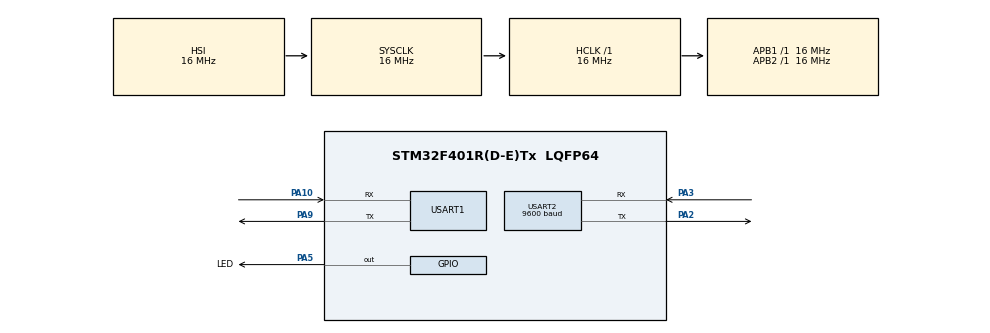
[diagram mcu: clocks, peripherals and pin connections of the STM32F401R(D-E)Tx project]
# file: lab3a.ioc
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Mcu.Family=STM32F4
Mcu.Name=STM32F401R(D-E)Tx
Mcu.Package=LQFP64
NVIC.PriorityGroup=NVIC_PRIORITYGROUP_4
NVIC.RTC_WKUP_IRQn=true\:0\:0\:false\:false\:true\:true\:true\:true
PA10.Mode=Asynchronous
PA10.Signal=USART1_RX
PA2.Mode=Asynchronous
PA2.Signal=USART2_TX
PA3.Mode=Asynchronous
PA3.Signal=USART2_RX
PA5.GPIO_Label=LED
PA5.Signal=GPIO_Output
PA9.Mode=Asynchronous
PA9.Signal=USART1_TX
ProjectManager.HeapSize=0x200
ProjectManager.StackSize=0x400
ProjectManager.TargetToolchain=STM32CubeIDE
RCC.AHBFreq_Value=16000000
RCC.APB1Freq_Value=16000000
RCC.APB2Freq_Value=16000000
RCC.CortexFreq_Value=16000000
RCC.HSE_VALUE=25000000
RCC.HSI_VALUE=16000000
RCC.LSE_VALUE=32768
RCC.SYSCLKFreq_VALUE=16000000
RCC.VCOOutputFreq_Value=192000000
RTC.WakeUpClock=RTC_WAKEUPCLOCK_CK_SPRE_16BITS
RTC.WakeUpCounter=9
USART1.VirtualMode=VM_ASYNC
USART2.BaudRate=9600
USART2.VirtualMode=VM_ASYNC
VP_RTC_VS_RTC_Activate.Mode=RTC_Enabled
VP_RTC_VS_RTC_WakeUp_intern.Mode=WakeUp
board=custom

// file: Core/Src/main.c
/* USER CODE BEGIN Header */
/**
  ******************************************************************************
  * @file           : main.c
  * @brief          : Main program body
  ******************************************************************************
  * @attention
  *
  * Copyright (c) 2026 STMicroelectronics.
  * All rights reserved.
  *
  * This software is licensed under terms that can be found in the LICENSE file
  * in the root directory of this software component.
  * If no LICENSE file comes with this software, it is provided AS-IS.
  *
  ******************************************************************************
  */
/* USER CODE END Header */
#include "main.h"

/* USER CODE BEGIN Includes */
#include <string.h>
#include <stdio.h>
/* USER CODE END Includes */

RTC_HandleTypeDef hrtc;

UART_HandleTypeDef huart1;
UART_HandleTypeDef huart2;

/* USER CODE BEGIN PV */
volatile uint8_t g_rtcWakeFlag = 0;
volatile uint32_t g_secondsCounter = 0;
/* USER CODE END PV */

void SystemClock_Config(void);
static void MX_GPIO_Init(void);
static void MX_RTC_Init(void);
static void MX_USART1_UART_Init(void);
static void MX_USART2_UART_Init(void);
/* USER CODE BEGIN PFP */
static void EnterStopMode(void);
static void BlinkTimes(uint32_t n);
static void LogToPc(const char *text);
static HAL_StatusTypeDef Arduino_RequestCount(char *outBuf, uint16_t outSize);
/* USER CODE END PFP */

/* USER CODE BEGIN 0 */

static void EnterStopMode(void)
{
  __HAL_PWR_CLEAR_FLAG(PWR_FLAG_WU);

  HAL_SuspendTick();
  HAL_PWR_EnterSTOPMode(PWR_LOWPOWERREGULATOR_ON, PWR_STOPENTRY_WFI);
  HAL_ResumeTick();
}

static void BlinkTimes(uint32_t n)
{
  for (uint32_t i = 0; i < n; i++)
  {
    HAL_GPIO_WritePin(GPIOA, GPIO_PIN_5, GPIO_PIN_SET);
    HAL_Delay(120);
    HAL_GPIO_WritePin(GPIOA, GPIO_PIN_5, GPIO_PIN_RESET);
    HAL_Delay(120);
  }
  HAL_Delay(200);
}

static void LogToPc(const char *text)
{
  HAL_UART_Transmit(&huart2, (uint8_t *)text, (uint16_t)strlen(text), HAL_MAX_DELAY);
}

static HAL_StatusTypeDef Arduino_RequestCount(char *outBuf, uint16_t outSize)
{
  const char cmd[] = "GET\n";
  uint8_t ch;
  uint16_t idx = 0;
  uint32_t startTick;

  if (outBuf == NULL || outSize < 2)
    return HAL_ERROR;

  memset(outBuf, 0, outSize);

  if (HAL_UART_Transmit(&huart1, (uint8_t *)cmd, sizeof(cmd) - 1, 1000) != HAL_OK)
    return HAL_ERROR;

  startTick = HAL_GetTick();

  while ((HAL_GetTick() - startTick) < 1000)
  {
    if (HAL_UART_Receive(&huart1, &ch, 1, 50) == HAL_OK)
    {
      if (ch == '\r' || ch == '\n')
      {
        if (idx > 0)
        {
          break;
        }
      }
      else
      {
        if (idx < (outSize - 1))
        {
          outBuf[idx++] = (char)ch;
        }
      }
    }
  }

  outBuf[idx] = '\0';

  if (idx == 0)
    return HAL_TIMEOUT;

  return HAL_OK;
}

void HAL_RTCEx_WakeUpTimerEventCallback(RTC_HandleTypeDef *hrtc)
{
  (void)hrtc;
  g_rtcWakeFlag = 1;
}

/* USER CODE END 0 */

int main(void)
{

  /* MCU Configuration--------------------------------------------------------*/

  HAL_Init();

  SystemClock_Config();

  MX_GPIO_Init();
  MX_RTC_Init();
  MX_USART1_UART_Init();
  MX_USART2_UART_Init();

  /* USER CODE BEGIN 2 */
  HAL_RTCEx_DeactivateWakeUpTimer(&hrtc);

  if (HAL_RTCEx_SetWakeUpTimer_IT(&hrtc, 9, RTC_WAKEUPCLOCK_CK_SPRE_16BITS) != HAL_OK)
  {
    Error_Handler();
  }

  BlinkTimes(2);
  LogToPc("timestamp_s,count\r\n");
  /* USER CODE END 2 */

  /* Infinite loop */
  /* USER CODE BEGIN WHILE */
  while (1)
  {
    g_rtcWakeFlag = 0;

    EnterStopMode();

    /* After STOP mode, restore system clock */
    SystemClock_Config();

    if (g_rtcWakeFlag)
    {
      char rxBuf[32] = {0};
      char logBuf[64] = {0};

      g_secondsCounter += 10;

      if (Arduino_RequestCount(rxBuf, sizeof(rxBuf)) == HAL_OK)
      {
        snprintf(logBuf, sizeof(logBuf), "%lu,%s\r\n",
                 (unsigned long)g_secondsCounter, rxBuf);
      }
      else
      {
        snprintf(logBuf, sizeof(logBuf), "%lu,ERR\r\n",
                 (unsigned long)g_secondsCounter);
      }

      LogToPc(logBuf);
      BlinkTimes(1);
    }

    /* USER CODE END WHILE */

  }
}

void SystemClock_Config(void)
{
  RCC_OscInitTypeDef RCC_OscInitStruct = {0};
  RCC_ClkInitTypeDef RCC_ClkInitStruct = {0};

  __HAL_RCC_PWR_CLK_ENABLE();
  __HAL_PWR_VOLTAGESCALING_CONFIG(PWR_REGULATOR_VOLTAGE_SCALE2);

  RCC_OscInitStruct.OscillatorType = RCC_OSCILLATORTYPE_HSI|RCC_OSCILLATORTYPE_LSI;
  RCC_OscInitStruct.HSIState = RCC_HSI_ON;
  RCC_OscInitStruct.HSICalibrationValue = RCC_HSICALIBRATION_DEFAULT;
  RCC_OscInitStruct.LSIState = RCC_LSI_ON;
  RCC_OscInitStruct.PLL.PLLState = RCC_PLL_NONE;
  if (HAL_RCC_OscConfig(&RCC_OscInitStruct) != HAL_OK)
  {
    Error_Handler();
  }

  RCC_ClkInitStruct.ClockType = RCC_CLOCKTYPE_HCLK|RCC_CLOCKTYPE_SYSCLK
                              |RCC_CLOCKTYPE_PCLK1|RCC_CLOCKTYPE_PCLK2;
  RCC_ClkInitStruct.SYSCLKSource = RCC_SYSCLKSOURCE_HSI;
  RCC_ClkInitStruct.AHBCLKDivider = RCC_SYSCLK_DIV1;
  RCC_ClkInitStruct.APB1CLKDivider = RCC_HCLK_DIV1;
  RCC_ClkInitStruct.APB2CLKDivider = RCC_HCLK_DIV1;

  if (HAL_RCC_ClockConfig(&RCC_ClkInitStruct, FLASH_LATENCY_0) != HAL_OK)
  {
    Error_Handler();
  }
}

static void MX_RTC_Init(void)
{
  RTC_TimeTypeDef sTime = {0};
  RTC_DateTypeDef sDate = {0};

  hrtc.Instance = RTC;
  hrtc.Init.HourFormat = RTC_HOURFORMAT_24;
  hrtc.Init.AsynchPrediv = 127;
  hrtc.Init.SynchPrediv = 255;
  hrtc.Init.OutPut = RTC_OUTPUT_DISABLE;
  hrtc.Init.OutPutPolarity = RTC_OUTPUT_POLARITY_HIGH;
  hrtc.Init.OutPutType = RTC_OUTPUT_TYPE_OPENDRAIN;
  if (HAL_RTC_Init(&hrtc) != HAL_OK)
  {
    Error_Handler();
  }

  sTime.Hours = 0x0;
  sTime.Minutes = 0x0;
  sTime.Seconds = 0x0;
  sTime.DayLightSaving = RTC_DAYLIGHTSAVING_NONE;
  sTime.StoreOperation = RTC_STOREOPERATION_RESET;
  if (HAL_RTC_SetTime(&hrtc, &sTime, RTC_FORMAT_BCD) != HAL_OK)
  {
    Error_Handler();
  }

  sDate.WeekDay = RTC_WEEKDAY_MONDAY;
  sDate.Month = RTC_MONTH_JANUARY;
  sDate.Date = 0x1;
  sDate.Year = 0x0;

  if (HAL_RTC_SetDate(&hrtc, &sDate, RTC_FORMAT_BCD) != HAL_OK)
  {
    Error_Handler();
  }

  if (HAL_RTCEx_SetWakeUpTimer_IT(&hrtc, 9, RTC_WAKEUPCLOCK_CK_SPRE_16BITS) != HAL_OK)
  {
    Error_Handler();
  }
}

static void MX_USART1_UART_Init(void)
{
  huart1.Instance = USART1;
  huart1.Init.BaudRate = 9600;
  huart1.Init.WordLength = UART_WORDLENGTH_8B;
  huart1.Init.StopBits = UART_STOPBITS_1;
  huart1.Init.Parity = UART_PARITY_NONE;
  huart1.Init.Mode = UART_MODE_TX_RX;
  huart1.Init.HwFlowCtl = UART_HWCONTROL_NONE;
  huart1.Init.OverSampling = UART_OVERSAMPLING_16;
  if (HAL_UART_Init(&huart1) != HAL_OK)
  {
    Error_Handler();
  }
}

static void MX_USART2_UART_Init(void)
{
  huart2.Instance = USART2;
  huart2.Init.BaudRate = 115200;
  huart2.Init.WordLength = UART_WORDLENGTH_8B;
  huart2.Init.StopBits = UART_STOPBITS_1;
  huart2.Init.Parity = UART_PARITY_NONE;
  huart2.Init.Mode = UART_MODE_TX_RX;
  huart2.Init.HwFlowCtl = UART_HWCONTROL_NONE;
  huart2.Init.OverSampling = UART_OVERSAMPLING_16;
  if (HAL_UART_Init(&huart2) != HAL_OK)
  {
    Error_Handler();
  }
}

static void MX_GPIO_Init(void)
{
  GPIO_InitTypeDef GPIO_InitStruct = {0};

  __HAL_RCC_GPIOA_CLK_ENABLE();

  HAL_GPIO_WritePin(LED_GPIO_Port, LED_Pin, GPIO_PIN_RESET);

  GPIO_InitStruct.Pin = LED_Pin;
  GPIO_InitStruct.Mode = GPIO_MODE_OUTPUT_PP;
  GPIO_InitStruct.Pull = GPIO_NOPULL;
  GPIO_InitStruct.Speed = GPIO_SPEED_FREQ_LOW;
  HAL_GPIO_Init(LED_GPIO_Port, &GPIO_InitStruct);
}

void Error_Handler(void)
{
  __disable_irq();
  while (1)
  {
  }
}
